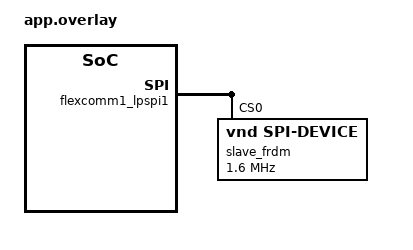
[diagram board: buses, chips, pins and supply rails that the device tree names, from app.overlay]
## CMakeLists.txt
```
cmake_minimum_required(VERSION 3.20.0)
find_package(Zephyr REQUIRED HINTS $ENV{ZEPHYR_BASE})
project(master-dev)

target_sources(app PRIVATE src/main.c)
```

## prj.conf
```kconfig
CONFIG_SPI=y
CONFIG_SPI_NXP_LPSPI=y
CONFIG_SPI_NXP_LPSPI_DMA=n
CONFIG_SPI_ASYNC=n
CONFIG_SPI_SLAVE=y
CONFIG_GPIO=y
CONFIG_PRINTK=y
CONFIG_LOG=y
CONFIG_LOG_DEFAULT_LEVEL=3
```

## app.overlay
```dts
&flexcomm1_lpspi1 {
	transfer-delay = <100>;
	sck-pcs-delay = <200>;
	pcs-sck-delay = <200>;
	slave_frdm: slave_frdm@0 {
		compatible = "vnd,spi-device";
		reg = <0>;
		spi-max-frequency = <1600000>;
		label = "slave_frdm";
	};
};

&flexcomm1 {
	interrupts = <36 1>;
};
```

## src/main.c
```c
#include <zephyr/kernel.h>
#include <zephyr/devicetree.h>
#include <zephyr/drivers/spi.h>
#include <zephyr/drivers/gpio.h>
#include <zephyr/sys/printk.h>

#define SPI_OP (SPI_OP_MODE_SLAVE | SPI_MODE_CPOL | SPI_MODE_CPHA | \
                SPI_WORD_SET(8) | SPI_TRANSFER_MSB | SPI_LINES_SINGLE)

#define WAKE_PIN 28

static const struct spi_dt_spec slave_dev =
    SPI_DT_SPEC_GET(DT_NODELABEL(slave_frdm), SPI_OP);

//static const struct device* wakeup_gpio = DEVICE_DT_GET(DT_NODELABEL(gpio0));

int main(void)
{
    if (!spi_is_ready_dt(&slave_dev)) {
        printk("SPI slave device not ready\n");
        return 0;
    }
  
    uint8_t data[32];
    uint8_t tx[32] = "Hello master!";

    struct spi_buf rx_buf = {
        .buf = data,
        .len = sizeof(data),
    };

    struct spi_buf_set rx_set = {
        .buffers = &rx_buf,
        .count = 1,
    };

    struct spi_buf tx_buf = {
	      .buf = tx,
	      .len = sizeof(tx),
    };

    struct spi_buf_set tx_set = {
	      .buffers = &tx_buf,
	      .count = 1,
    };

    while (1) {
        int rc = spi_transceive_dt(&slave_dev, &tx_set, &rx_set);
        printk("\n");
        if (rc > 0) {
		      printk("data: %s\n", (char*)data);
        }
    }

    return 0;
}
```
